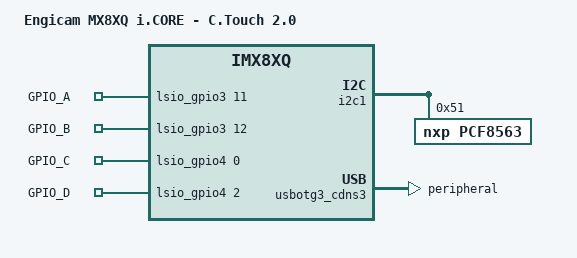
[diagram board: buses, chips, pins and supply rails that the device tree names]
// SPDX-License-Identifier: GPL-2.0+
/*
 * Copyright 2017-2020 NXP
 */
/dts-v1/;
#include "imx8xq-icore-starterkit.dts"
#include <dt-bindings/usb/pd.h>

/ {
	model = "Engicam MX8XQ i.CORE - C.Touch 2.0";

	gpio_export {
		compatible = "gpio-export";
		#size-cells = <0>;

		GPIO_A {
			gpio-export,name = "GPIO_A";
			gpio-export,output = <0>;
			gpio-export,direction_may_change;
			gpios = <&lsio_gpio3 11 0>;
		};

		GPIO_B {
			gpio-export,name = "GPIO_B";
			gpio-export,output = <0>;
			gpio-export,direction_may_change;
			gpios = <&lsio_gpio3 12 0>;
		};

		GPIO_C {
			gpio-export,name = "GPIO_C";
			gpio-export,output = <0>;
			gpio-export,direction_may_change;
			gpios = <&lsio_gpio4 0 0>;
		};

		GPIO_D {
			gpio-export,name = "GPIO_D";
			gpio-export,output = <0>;
			gpio-export,direction_may_change;
			gpios = <&lsio_gpio4 2 0>;
		};
	};

	panel_lvds: panel-lvds {
		status = "disabled";
	};
};

&pwm_mipi_lvds0 {
	status = "disabled";
};

&i2c0_mipi_lvds0 {
	status = "disabled";
};

&ldb1_phy {
	status = "disabled";
};

&ldb1 {
	status = "disabled";
};

&mipi0_dphy {
	status = "disabled";
};

&mipi0_dsi_host {
	status = "disabled";
};

&i2c1 {
	#address-cells = <1>;
	#size-cells = <0>;

	pcf8563: rtc@51 {
		compatible = "nxp,pcf8563";
		reg = <0x51>;
	};
};

&usbotg3_cdns3 {
	dr_mode = "peripheral";
};

&flexcan1 {
	status = "disabled";
};

&mipi_csi_0 {
	status = "disabled";
};

&cameradev {
	status = "disabled";
};

&iomuxc {
	pinctrl-names = "default";
	pinctrl-0 = <&pinctrl_hog>;

	pinctrl_hog: hoggrp {
		fsl,pins = <
			IMX8QXP_MCLK_OUT0_ADMA_ACM_MCLK_OUT0       0x0600004c
			IMX8QXP_COMP_CTL_GPIO_1V8_3V3_GPIORHB_PAD  0x000514a0
		    IMX8QXP_QSPI0A_DATA2_LSIO_GPIO3_IO11 0x06000020 // GPIO_A
      		IMX8QXP_QSPI0A_DATA3_LSIO_GPIO3_IO12 0x06000020 // GPIO_B
      		IMX8QXP_PCIE_CTRL0_PERST_B_LSIO_GPIO4_IO00 0x06000020 // GPIO_C
      		IMX8QXP_PCIE_CTRL0_WAKE_B_LSIO_GPIO4_IO02 0x06000020 // GPIO_D
		>;
	};
};
